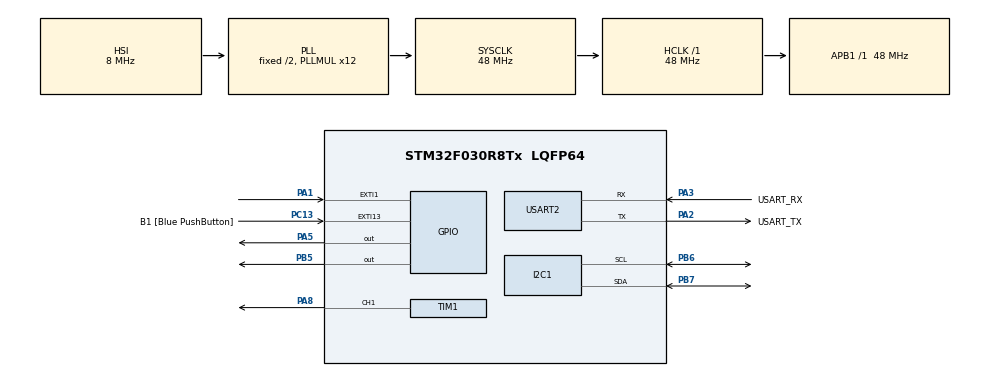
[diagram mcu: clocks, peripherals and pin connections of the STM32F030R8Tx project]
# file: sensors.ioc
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Dma.Request0=TIM1_CH1
Dma.TIM1_CH1.0.Direction=DMA_MEMORY_TO_PERIPH
Dma.TIM1_CH1.0.Instance=DMA1_Channel2
Dma.TIM1_CH1.0.MemDataAlignment=DMA_MDATAALIGN_HALFWORD
Dma.TIM1_CH1.0.MemInc=DMA_MINC_ENABLE
Dma.TIM1_CH1.0.Mode=DMA_NORMAL
Dma.TIM1_CH1.0.PeriphDataAlignment=DMA_PDATAALIGN_HALFWORD
Dma.TIM1_CH1.0.PeriphInc=DMA_PINC_DISABLE
Dma.TIM1_CH1.0.Priority=DMA_PRIORITY_HIGH
I2C1.Timing=0x00201D2B
Mcu.Family=STM32F0
Mcu.Name=STM32F030R8Tx
Mcu.Package=LQFP64
NVIC.DMA1_Channel2_3_IRQn=true\:0\:0\:false\:false\:true\:false\:true\:true
NVIC.EXTI0_1_IRQn=true\:0\:0\:false\:false\:true\:true\:true\:true
NVIC.EXTI4_15_IRQn=true\:0\:0\:false\:false\:true\:true\:true\:true
NVIC.USART2_IRQn=true\:0\:0\:false\:false\:true\:true\:true\:true
PA1.Signal=GPXTI1
PA13.GPIO_Label=TMS
PA13.Mode=Serial_Wire
PA13.Signal=SYS_SWDIO
PA14.GPIO_Label=TCK
PA14.Mode=Serial_Wire
PA14.Signal=SYS_SWCLK
PA2.GPIO_Label=USART_TX
PA2.GPIO_Mode=GPIO_MODE_AF_PP
PA2.GPIO_PuPd=GPIO_NOPULL
PA2.GPIO_Speed=GPIO_SPEED_FREQ_LOW
PA2.Mode=Asynchronous
PA2.Signal=USART2_TX
PA3.GPIO_Label=USART_RX
PA3.GPIO_Mode=GPIO_MODE_AF_PP
PA3.GPIO_PuPd=GPIO_NOPULL
PA3.GPIO_Speed=GPIO_SPEED_FREQ_LOW
PA3.Mode=Asynchronous
PA3.Signal=USART2_RX
PA5.Signal=GPIO_Output
PA8.Signal=S_TIM1_CH1
PB5.Signal=GPIO_Output
PB6.Mode=I2C
PB6.Signal=I2C1_SCL
PB7.Mode=I2C
PB7.Signal=I2C1_SDA
PC13.GPIO_Label=B1 [Blue PushButton]
PC13.GPIO_ModeDefaultEXTI=GPIO_MODE_IT_FALLING
PC13.Signal=GPXTI13
PC14-OSC32_IN.Mode=LSE-External-Oscillator
PC14-OSC32_IN.Signal=RCC_OSC32_IN
PC15-OSC32_OUT.Mode=LSE-External-Oscillator
PC15-OSC32_OUT.Signal=RCC_OSC32_OUT
PF0-OSC_IN.Mode=HSE-External-Clock-Source
PF0-OSC_IN.Signal=RCC_OSC_IN
PF1-OSC_OUT.Signal=RCC_OSC_OUT
ProjectManager.HeapSize=0x200
ProjectManager.StackSize=0x400
ProjectManager.TargetToolchain=STM32CubeIDE
RCC.AHBFreq_Value=48000000
RCC.APB1Freq_Value=48000000
RCC.APB1TimFreq_Value=48000000
RCC.HCLKFreq_Value=48000000
RCC.PLLMUL=RCC_PLL_MUL12
RCC.SYSCLKFreq_VALUE=48000000
RCC.SYSCLKSource=RCC_SYSCLKSOURCE_PLLCLK
SH.S_TIM1_CH1.0=TIM1_CH1,PWM Generation1 CH1
TIM1.Channel-PWM\ Generation1\ CH1=TIM_CHANNEL_1
TIM1.Period=59
TIM1.Pulse-PWM\ Generation1\ CH1=0
USART2.VirtualMode-Asynchronous=VM_ASYNC
VP_TIM1_VS_ClockSourceINT.Mode=Internal
board=NUCLEO-F030R8

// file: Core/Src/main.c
/* USER CODE BEGIN Header */
/**
  ******************************************************************************
  * @file           : main.c
  * @brief          : Main program body for temperature monitoring with
  *                   serial RX LED indication
  ******************************************************************************
  * @attention
  *
  * Copyright (c) 2025 STMicroelectronics.
  * All rights reserved.
  *
  * This software is licensed under terms that can be found in the LICENSE file
  * in the root directory of this software component.
  * If no LICENSE file comes with this software, it is provided AS-IS.
  *
  ******************************************************************************
  */
/* USER CODE END Header */
#include "main.h"

/* USER CODE BEGIN Includes */
#include <string.h>
#include <stdio.h>
#include "serialjson.h"
/* USER CODE END Includes */

/* USER CODE BEGIN PD */
#define TMP102_ADDR 0x48 << 1 // sensor address
#define RX_BUFFER_SIZE 256 // DMA-UART2 buffer size
#define MAX_LEDS 72
// 72
#define BITS_PER_LED 24
#define BUFSIZE          (MAX_LEDS * BITS_PER_LED)

#define BIT_0           17          // Duty cycle 33% (valoare pentru logic '0')
#define BIT_1           34          // Duty cycle 66% (valoare pentru logic '1')
/* USER CODE END PD */

I2C_HandleTypeDef hi2c1;

TIM_HandleTypeDef htim1;
DMA_HandleTypeDef hdma_tim1_ch1;

UART_HandleTypeDef huart2;

/* USER CODE BEGIN PV */
uint8_t RxBuffer[RX_BUFFER_SIZE] = {0};
uint8_t RxData[RX_BUFFER_SIZE] = {0};
uint8_t RxIndex = 0;
uint8_t RxCompleteFlag = 0;
__attribute__((aligned(4))) volatile uint16_t LED_Buffer[BUFSIZE]; // Buffer folosit de DMA pentru semnal PWM
uint8_t transferDone = 0;

/* USER CODE END PV */

void SystemClock_Config(void);
static void MX_GPIO_Init(void);
static void MX_DMA_Init(void);
static void MX_I2C1_Init(void);
static void MX_USART2_UART_Init(void);
static void MX_TIM1_Init(void);
/* USER CODE BEGIN PFP */
static void sendString(char *str);
static float getTemp(void);
void ws2812_send();
void ws2812_update_all(int firstled, int lastled, uint8_t colors[MAX_LEDS][3]);

/* USER CODE END PFP */

int main(void)
{

  /* MCU Configuration--------------------------------------------------------*/

  /* Reset of all peripherals, Initializes the Flash interface and the Systick. */
  HAL_Init();

  /* Configure the system clock */
  SystemClock_Config();

  /* Initialize all configured peripherals */
  MX_GPIO_Init();
  MX_DMA_Init();
  MX_I2C1_Init();
  MX_USART2_UART_Init();
  MX_TIM1_Init();
  /* USER CODE BEGIN 2 */
  // Start UART reception with interrupts

//  HAL_TIM_PWM_Start(&htim1, TIM_CHANNEL_1);
  char buffer[128];
  HAL_UART_Receive_IT(&huart2, RxBuffer, 1);
  /* USER CODE END 2 */

  /* Infinite loop */
  /* USER CODE BEGIN WHILE */
  while (1)
  {
	  if (RxCompleteFlag)
	      {
	        RxIndex = 0;
	        RxCompleteFlag = 0;
//	        sendString((char*)RxData);
	        Pair *pairs = json_to_pairs((char*)RxData);
	        int index = 0;
	        while(pairs[index].name != NULL){
	        	execute_function(get_by_name(ITEMS, pairs[index].name), pairs[index].num_values, pairs[index].int_values);
	        	index++;
	        }
	        free_pairs(pairs);
	        // Restart interrupt reception
	        HAL_UART_Receive_IT(&huart2, RxBuffer, 1);
	      }
    float temperature = getTemp();
    //! to string
    if (temperature != -1.0f)
    {
        snprintf(buffer, sizeof(buffer), "%.2f\r\n", temperature);
//        sendString("t:");
        sendString(buffer);
    }
    /* USER CODE END WHILE */

    /* USER CODE BEGIN 3 */
    HAL_Delay(100);
  }
  /* USER CODE END 3 */
}

void SystemClock_Config(void)
{
  RCC_OscInitTypeDef RCC_OscInitStruct = {0};
  RCC_ClkInitTypeDef RCC_ClkInitStruct = {0};
  RCC_PeriphCLKInitTypeDef PeriphClkInit = {0};

  /** Initializes the RCC Oscillators according to the specified parameters
  * in the RCC_OscInitTypeDef structure.
  */
  RCC_OscInitStruct.OscillatorType = RCC_OSCILLATORTYPE_HSI;
  RCC_OscInitStruct.HSIState = RCC_HSI_ON;
  RCC_OscInitStruct.HSICalibrationValue = RCC_HSICALIBRATION_DEFAULT;
  RCC_OscInitStruct.PLL.PLLState = RCC_PLL_ON;
  RCC_OscInitStruct.PLL.PLLSource = RCC_PLLSOURCE_HSI;
  RCC_OscInitStruct.PLL.PLLMUL = RCC_PLL_MUL12;
  RCC_OscInitStruct.PLL.PREDIV = RCC_PREDIV_DIV1;
  if (HAL_RCC_OscConfig(&RCC_OscInitStruct) != HAL_OK)
  {
    Error_Handler();
  }

  /** Initializes the CPU, AHB and APB buses clocks
  */
  RCC_ClkInitStruct.ClockType = RCC_CLOCKTYPE_HCLK|RCC_CLOCKTYPE_SYSCLK
                              |RCC_CLOCKTYPE_PCLK1;
  RCC_ClkInitStruct.SYSCLKSource = RCC_SYSCLKSOURCE_PLLCLK;
  RCC_ClkInitStruct.AHBCLKDivider = RCC_SYSCLK_DIV1;
  RCC_ClkInitStruct.APB1CLKDivider = RCC_HCLK_DIV1;

  if (HAL_RCC_ClockConfig(&RCC_ClkInitStruct, FLASH_LATENCY_1) != HAL_OK)
  {
    Error_Handler();
  }
  PeriphClkInit.PeriphClockSelection = RCC_PERIPHCLK_I2C1;
  PeriphClkInit.I2c1ClockSelection = RCC_I2C1CLKSOURCE_HSI;
  if (HAL_RCCEx_PeriphCLKConfig(&PeriphClkInit) != HAL_OK)
  {
    Error_Handler();
  }
}

static void MX_I2C1_Init(void)
{

  hi2c1.Instance = I2C1;
  hi2c1.Init.Timing = 0x00201D2B;
  hi2c1.Init.OwnAddress1 = 0;
  hi2c1.Init.AddressingMode = I2C_ADDRESSINGMODE_7BIT;
  hi2c1.Init.DualAddressMode = I2C_DUALADDRESS_DISABLE;
  hi2c1.Init.OwnAddress2 = 0;
  hi2c1.Init.OwnAddress2Masks = I2C_OA2_NOMASK;
  hi2c1.Init.GeneralCallMode = I2C_GENERALCALL_DISABLE;
  hi2c1.Init.NoStretchMode = I2C_NOSTRETCH_DISABLE;
  if (HAL_I2C_Init(&hi2c1) != HAL_OK)
  {
    Error_Handler();
  }

  /** Configure Analogue filter
  */
  if (HAL_I2CEx_ConfigAnalogFilter(&hi2c1, I2C_ANALOGFILTER_ENABLE) != HAL_OK)
  {
    Error_Handler();
  }

  /** Configure Digital filter
  */
  if (HAL_I2CEx_ConfigDigitalFilter(&hi2c1, 0) != HAL_OK)
  {
    Error_Handler();
  }

}

static void MX_TIM1_Init(void)
{

  TIM_ClockConfigTypeDef sClockSourceConfig = {0};
  TIM_MasterConfigTypeDef sMasterConfig = {0};
  TIM_OC_InitTypeDef sConfigOC = {0};
  TIM_BreakDeadTimeConfigTypeDef sBreakDeadTimeConfig = {0};

  htim1.Instance = TIM1;
  htim1.Init.Prescaler = 0;
  htim1.Init.CounterMode = TIM_COUNTERMODE_UP;
  htim1.Init.Period = 59;
  htim1.Init.ClockDivision = TIM_CLOCKDIVISION_DIV1;
  htim1.Init.RepetitionCounter = 0;
  htim1.Init.AutoReloadPreload = TIM_AUTORELOAD_PRELOAD_DISABLE;
  if (HAL_TIM_Base_Init(&htim1) != HAL_OK)
  {
    Error_Handler();
  }
  sClockSourceConfig.ClockSource = TIM_CLOCKSOURCE_INTERNAL;
  if (HAL_TIM_ConfigClockSource(&htim1, &sClockSourceConfig) != HAL_OK)
  {
    Error_Handler();
  }
  if (HAL_TIM_PWM_Init(&htim1) != HAL_OK)
  {
    Error_Handler();
  }
  sMasterConfig.MasterOutputTrigger = TIM_TRGO_RESET;
  sMasterConfig.MasterSlaveMode = TIM_MASTERSLAVEMODE_DISABLE;
  if (HAL_TIMEx_MasterConfigSynchronization(&htim1, &sMasterConfig) != HAL_OK)
  {
    Error_Handler();
  }
  sConfigOC.OCMode = TIM_OCMODE_PWM1;
  sConfigOC.Pulse = 0;
  sConfigOC.OCPolarity = TIM_OCPOLARITY_HIGH;
  sConfigOC.OCNPolarity = TIM_OCNPOLARITY_HIGH;
  sConfigOC.OCFastMode = TIM_OCFAST_DISABLE;
  sConfigOC.OCIdleState = TIM_OCIDLESTATE_RESET;
  sConfigOC.OCNIdleState = TIM_OCNIDLESTATE_RESET;
  if (HAL_TIM_PWM_ConfigChannel(&htim1, &sConfigOC, TIM_CHANNEL_1) != HAL_OK)
  {
    Error_Handler();
  }
  sBreakDeadTimeConfig.OffStateRunMode = TIM_OSSR_DISABLE;
  sBreakDeadTimeConfig.OffStateIDLEMode = TIM_OSSI_DISABLE;
  sBreakDeadTimeConfig.LockLevel = TIM_LOCKLEVEL_OFF;
  sBreakDeadTimeConfig.DeadTime = 0;
  sBreakDeadTimeConfig.BreakState = TIM_BREAK_DISABLE;
  sBreakDeadTimeConfig.BreakPolarity = TIM_BREAKPOLARITY_HIGH;
  sBreakDeadTimeConfig.AutomaticOutput = TIM_AUTOMATICOUTPUT_DISABLE;
  if (HAL_TIMEx_ConfigBreakDeadTime(&htim1, &sBreakDeadTimeConfig) != HAL_OK)
  {
    Error_Handler();
  }
  HAL_TIM_MspPostInit(&htim1);

}

static void MX_USART2_UART_Init(void)
{

  huart2.Instance = USART2;
  huart2.Init.BaudRate = 38400;
  huart2.Init.WordLength = UART_WORDLENGTH_8B;
  huart2.Init.StopBits = UART_STOPBITS_1;
  huart2.Init.Parity = UART_PARITY_NONE;
  huart2.Init.Mode = UART_MODE_TX_RX;
  huart2.Init.HwFlowCtl = UART_HWCONTROL_NONE;
  huart2.Init.OverSampling = UART_OVERSAMPLING_16;
  huart2.Init.OneBitSampling = UART_ONE_BIT_SAMPLE_DISABLE;
  huart2.AdvancedInit.AdvFeatureInit = UART_ADVFEATURE_NO_INIT;
  if (HAL_UART_Init(&huart2) != HAL_OK)
  {
    Error_Handler();
  }

}

static void MX_DMA_Init(void)
{

  /* DMA controller clock enable */
  __HAL_RCC_DMA1_CLK_ENABLE();

  /* DMA interrupt init */
  /* DMA1_Channel2_3_IRQn interrupt configuration */
  HAL_NVIC_SetPriority(DMA1_Channel2_3_IRQn, 0, 0);
  HAL_NVIC_EnableIRQ(DMA1_Channel2_3_IRQn);

}

static void MX_GPIO_Init(void)
{
  GPIO_InitTypeDef GPIO_InitStruct = {0};

  /* GPIO Ports Clock Enable */
  __HAL_RCC_GPIOC_CLK_ENABLE();
  __HAL_RCC_GPIOF_CLK_ENABLE();
  __HAL_RCC_GPIOA_CLK_ENABLE();
  __HAL_RCC_GPIOB_CLK_ENABLE();

  /*Configure GPIO pin Output Level */
  HAL_GPIO_WritePin(GPIOA, GPIO_PIN_5, GPIO_PIN_RESET);

  /*Configure GPIO pin Output Level */
  HAL_GPIO_WritePin(GPIOB, GPIO_PIN_5, GPIO_PIN_RESET);

  /*Configure GPIO pin : B1_Pin */
  GPIO_InitStruct.Pin = B1_Pin;
  GPIO_InitStruct.Mode = GPIO_MODE_IT_FALLING;
  GPIO_InitStruct.Pull = GPIO_NOPULL;
  HAL_GPIO_Init(B1_GPIO_Port, &GPIO_InitStruct);

  /*Configure GPIO pin : PA1 */
  GPIO_InitStruct.Pin = GPIO_PIN_1;
  GPIO_InitStruct.Mode = GPIO_MODE_IT_RISING;
  GPIO_InitStruct.Pull = GPIO_NOPULL;
  HAL_GPIO_Init(GPIOA, &GPIO_InitStruct);

  /*Configure GPIO pin : PA5 */
  GPIO_InitStruct.Pin = GPIO_PIN_5;
  GPIO_InitStruct.Mode = GPIO_MODE_OUTPUT_PP;
  GPIO_InitStruct.Pull = GPIO_NOPULL;
  GPIO_InitStruct.Speed = GPIO_SPEED_FREQ_LOW;
  HAL_GPIO_Init(GPIOA, &GPIO_InitStruct);

  /*Configure GPIO pin : PB5 */
  GPIO_InitStruct.Pin = GPIO_PIN_5;
  GPIO_InitStruct.Mode = GPIO_MODE_OUTPUT_PP;
  GPIO_InitStruct.Pull = GPIO_NOPULL;
  GPIO_InitStruct.Speed = GPIO_SPEED_FREQ_LOW;
  HAL_GPIO_Init(GPIOB, &GPIO_InitStruct);

  /* EXTI interrupt init*/
  HAL_NVIC_SetPriority(EXTI0_1_IRQn, 0, 0);
  HAL_NVIC_EnableIRQ(EXTI0_1_IRQn);

  HAL_NVIC_SetPriority(EXTI4_15_IRQn, 0, 0);
  HAL_NVIC_EnableIRQ(EXTI4_15_IRQn);

}

/* USER CODE BEGIN 4 */
static void sendString(char *str)
{
    HAL_UART_Transmit(&huart2, (uint8_t*)str, strlen(str), HAL_MAX_DELAY);
}

static float getTemp(void){
    uint8_t tempData[2];    // Buffer
    int16_t rawTemp;        //
    float temperature;      // Temperature in Celsius.
    if (HAL_I2C_Mem_Read(&hi2c1, TMP102_ADDR, 0x00, I2C_MEMADD_SIZE_8BIT, tempData, 2, HAL_MAX_DELAY) != HAL_OK)
    {
        return -1.0f;
    }
    rawTemp = (int16_t)((tempData[0] << 4) | (tempData[1] >> 4));
    temperature = rawTemp * 0.0625f;  // TMP102 0.0625°C.
    return temperature;
}

//void HAL_UART_RxCpltCallback(UART_HandleTypeDef *huart)
//{
//    HAL_UART_Receive_IT(&huart2, RxBuffer, RX_BUFFER_SIZE);
//    sendString("message recieved");
//    HAL_GPIO_WritePin(GPIOB, GPIO_PIN_5, GPIO_PIN_SET);    // Blue LED
//}

void HAL_UART_RxCpltCallback(UART_HandleTypeDef *huart)
{
    if (huart->Instance == USART2)
    {
        // Check if we haven't filled the buffer
        if (RxIndex < RX_BUFFER_SIZE - 1)
        {
            // Store the received byte
            RxData[RxIndex++] = RxBuffer[0];

            // Check for end of message (newline or carriage return)
            if (RxBuffer[0] == '\r' || RxBuffer[0] == '\n')
            {
                RxData[RxIndex] = '\0';  // Null-terminate the string
                RxCompleteFlag = 1;
            }
            else
            {
                // Continue receiving next byte
                HAL_UART_Receive_IT(&huart2, RxBuffer, 1);
            }
        }
        else
        {
            // Buffer full, reset
            RxIndex = 0;
            HAL_UART_Receive_IT(&huart2, RxBuffer, 1);
        }
    }
}

int led1_function(int argc, int* argv){
//	sendString("led1");
		HAL_GPIO_WritePin(GPIOB, GPIO_PIN_5, argv[0]);
		return 0;
}

int ledband(int argc, int* argv){
	uint8_t all_red[72][3];
	int firstled = argv[0];
	int lastled = argv[1];
	  for (int i = 0; i < 72; i++) {
		  all_red[i][0] = argv[2];
		  all_red[i][1] = argv[3];
		  all_red[i][2] = argv[4];
	  }

	  ws2812_update_all(firstled, lastled, all_red);

		return 0;
}

void ws2812_send()
{
	transferDone = 0;
	__HAL_TIM_SET_COUNTER(&htim1, 0);
    HAL_TIM_PWM_Start_DMA(&htim1, TIM_CHANNEL_1, (uint32_t*)LED_Buffer, BUFSIZE);
    while (!transferDone);
//    HAL_Delay(1); // >= 50 µs reset time (WS2812)
    for (volatile int i = 0; i < 3000; i++); // delay brut ≈ 50-60µs
}

void ws2812_update_all(int firstled, int lastled, uint8_t colors[MAX_LEDS][3]) {
    uint32_t index = firstled*24;
    __disable_irq();
    for (uint8_t led = firstled; led < lastled; led++) {
        uint8_t red   = colors[led][0];
        uint8_t green = colors[led][1];
        uint8_t blue  = colors[led][2];

        for (uint8_t i = 0; i < 8; i++) {
            LED_Buffer[index++] = (green & (1 << (7 - i))) ? BIT_1 : BIT_0;
        }

        for (uint8_t i = 0; i < 8; i++) {
            LED_Buffer[index++] = (red & (1 << (7 - i))) ? BIT_1 : BIT_0;
        }

        for (uint8_t i = 0; i < 8; i++) {
            LED_Buffer[index++] = (blue & (1 << (7 - i))) ? BIT_1 : BIT_0;
        }
    }
    __enable_irq();
//    HAL_Delay(200);
    ws2812_send();
}

//! interrupt function for PIR sensor.

void HAL_GPIO_EXTI_Callback(uint16_t GPIO_Pin){
	if(GPIO_Pin == GPIO_PIN_1){
	        sendString("PIR\n");
	}
}

void HAL_TIM_PWM_PulseFinishedCallback(TIM_HandleTypeDef *htim)
{
    if(htim->Instance == TIM1)
    {
    	HAL_TIM_PWM_Stop_DMA(&htim1, TIM_CHANNEL_1);
    	transferDone = 1;
    }
}

/* USER CODE END 4 */

void Error_Handler(void)
{
  __disable_irq();
  while (1)
  {
  }
}
